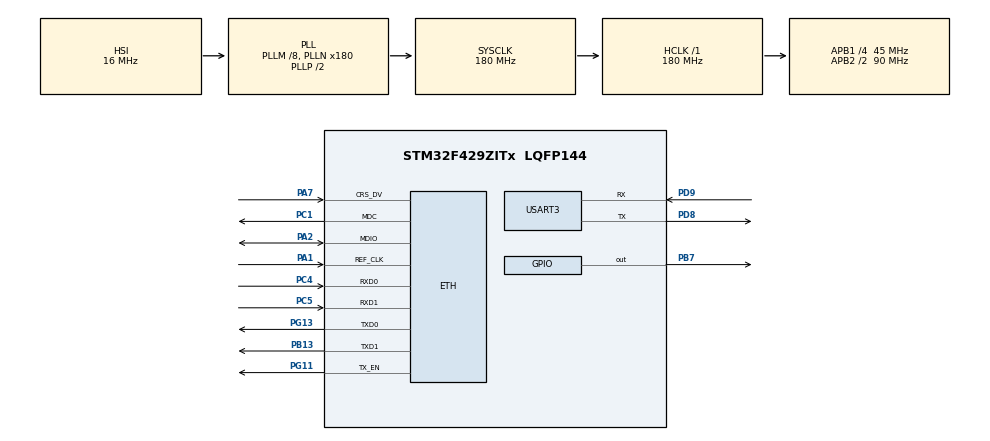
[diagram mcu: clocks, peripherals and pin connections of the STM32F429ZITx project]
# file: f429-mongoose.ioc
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ETH.MediaInterface=HAL_ETH_RMII_MODE
FREERTOS.Tasks01=defaultTask,0,1024,StartDefaultTask,Default,NULL,Dynamic,NULL,NULL
FREERTOS.configTOTAL_HEAP_SIZE=131072
FREERTOS.configUSE_NEWLIB_REENTRANT=1
LWIP.BSP.number=1
LWIP.DHCP_DEBUG=LWIP_DBG_OFF
LWIP.LWIP_HTTPD=0
LWIP.LWIP_HTTPD_SSI_BY_FILE_EXTENSION=0
LWIP.LWIP_NETIF_STATUS_CALLBACK=1
LWIP.MEMP_NUM_PBUF=32
LWIP.MEMP_NUM_RAW_PCB=8
LWIP.MEMP_NUM_TCP_PCB=10
LWIP.MEMP_NUM_TCP_PCB_LISTEN=16
LWIP.MEM_SIZE=8192
LWIP.PBUF_POOL_SIZE=32
LWIP.Version=v2.1.2_Cube
LWIP0.BSP.STBoard=false
LWIP0.BSP.api=BSP_COMPONENT_DRIVER
LWIP0.BSP.component=LAN8742
LWIP0.BSP.instance=LAN8742
LWIP0.BSP.name=Driver_PHY
LWIP0.BSP.semaphore=S_LAN8742
LWIP0.BSP.solution=LAN8742
Mcu.Family=STM32F4
Mcu.Name=STM32F429ZITx
Mcu.Package=LQFP144
NVIC.ETH_IRQn=true\:5\:0\:false\:false\:true\:true\:true\:true\:true
NVIC.PriorityGroup=NVIC_PRIORITYGROUP_4
PA1.Mode=RMII
PA1.Signal=ETH_REF_CLK
PA2.Mode=RMII
PA2.Signal=ETH_MDIO
PA7.Mode=RMII
PA7.Signal=ETH_CRS_DV
PB13.Mode=RMII
PB13.Signal=ETH_TXD1
PB7.Signal=GPIO_Output
PC1.Mode=RMII
PC1.Signal=ETH_MDC
PC4.Mode=RMII
PC4.Signal=ETH_RXD0
PC5.Mode=RMII
PC5.Signal=ETH_RXD1
PD8.Mode=Asynchronous
PD8.Signal=USART3_TX
PD9.Mode=Asynchronous
PD9.Signal=USART3_RX
PG11.Mode=RMII
PG11.Signal=ETH_TX_EN
PG13.Mode=RMII
PG13.Signal=ETH_TXD0
ProjectManager.HeapSize=0x200
ProjectManager.StackSize=0x400
ProjectManager.TargetToolchain=STM32CubeIDE
RCC.48MHZClocksFreq_Value=90000000
RCC.AHBFreq_Value=180000000
RCC.APB1CLKDivider=RCC_HCLK_DIV4
RCC.APB1Freq_Value=45000000
RCC.APB1TimFreq_Value=90000000
RCC.APB2CLKDivider=RCC_HCLK_DIV2
RCC.APB2Freq_Value=90000000
RCC.APB2TimFreq_Value=180000000
RCC.CortexFreq_Value=180000000
RCC.HCLKFreq_Value=180000000
RCC.HSE_VALUE=25000000
RCC.HSI_VALUE=16000000
RCC.LSE_VALUE=32768
RCC.PLLM=8
RCC.PLLN=180
RCC.SYSCLKFreq_VALUE=180000000
RCC.SYSCLKSource=RCC_SYSCLKSOURCE_PLLCLK
RCC.VCOOutputFreq_Value=360000000
USART3.VirtualMode=VM_ASYNC
VP_FREERTOS_VS_CMSIS_V1.Mode=CMSIS_V1
VP_LWIP_VS_Enabled.Mode=Enabled
board=custom

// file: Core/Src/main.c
/* USER CODE BEGIN Header */
/**
 ******************************************************************************
 * @file           : main.c
 * @brief          : Main program body
 ******************************************************************************
 * @attention
 *
 * Copyright (c) 2022 STMicroelectronics.
 * All rights reserved.
 *
 * This software is licensed under terms that can be found in the LICENSE file
 * in the root directory of this software component.
 * If no LICENSE file comes with this software, it is provided AS-IS.
 *
 ******************************************************************************
 */
/* USER CODE END Header */
#include "main.h"
#include "cmsis_os.h"
#include "lwip.h"

/* USER CODE BEGIN Includes */
#include "mongoose.h"

/* USER CODE END Includes */

UART_HandleTypeDef huart3;

osThreadId defaultTaskHandle;

void SystemClock_Config(void);
static void MX_GPIO_Init(void);
static void MX_USART3_UART_Init(void);
void StartDefaultTask(void const * argument);

int main(void)
{

  /* MCU Configuration--------------------------------------------------------*/

  /* Reset of all peripherals, Initializes the Flash interface and the Systick. */
  HAL_Init();

  /* Configure the system clock */
  SystemClock_Config();

  /* Initialize all configured peripherals */
  MX_GPIO_Init();
  MX_USART3_UART_Init();
  /* USER CODE BEGIN 2 */
  //  for(;;) { HAL_Delay(250); HAL_GPIO_TogglePin(GPIOB, GPIO_PIN_7); }
  /* USER CODE END 2 */

  /* Create the thread(s) */
  /* definition and creation of defaultTask */
  osThreadDef(defaultTask, StartDefaultTask, osPriorityNormal, 0, 1024);
  defaultTaskHandle = osThreadCreate(osThread(defaultTask), NULL);

  /* Start scheduler */
  osKernelStart();

  /* We should never get here as control is now taken by the scheduler */
  /* Infinite loop */
  while (1) {

  }
}

void SystemClock_Config(void)
{
  RCC_OscInitTypeDef RCC_OscInitStruct = {0};
  RCC_ClkInitTypeDef RCC_ClkInitStruct = {0};

  /** Configure the main internal regulator output voltage
  */
  __HAL_RCC_PWR_CLK_ENABLE();
  __HAL_PWR_VOLTAGESCALING_CONFIG(PWR_REGULATOR_VOLTAGE_SCALE1);

  /** Initializes the RCC Oscillators according to the specified parameters
  * in the RCC_OscInitTypeDef structure.
  */
  RCC_OscInitStruct.OscillatorType = RCC_OSCILLATORTYPE_HSI;
  RCC_OscInitStruct.HSIState = RCC_HSI_ON;
  RCC_OscInitStruct.HSICalibrationValue = RCC_HSICALIBRATION_DEFAULT;
  RCC_OscInitStruct.PLL.PLLState = RCC_PLL_ON;
  RCC_OscInitStruct.PLL.PLLSource = RCC_PLLSOURCE_HSI;
  RCC_OscInitStruct.PLL.PLLM = 8;
  RCC_OscInitStruct.PLL.PLLN = 180;
  RCC_OscInitStruct.PLL.PLLP = RCC_PLLP_DIV2;
  RCC_OscInitStruct.PLL.PLLQ = 4;
  if (HAL_RCC_OscConfig(&RCC_OscInitStruct) != HAL_OK)
  {
    Error_Handler();
  }

  /** Activate the Over-Drive mode
  */
  if (HAL_PWREx_EnableOverDrive() != HAL_OK)
  {
    Error_Handler();
  }

  /** Initializes the CPU, AHB and APB buses clocks
  */
  RCC_ClkInitStruct.ClockType = RCC_CLOCKTYPE_HCLK|RCC_CLOCKTYPE_SYSCLK
                              |RCC_CLOCKTYPE_PCLK1|RCC_CLOCKTYPE_PCLK2;
  RCC_ClkInitStruct.SYSCLKSource = RCC_SYSCLKSOURCE_PLLCLK;
  RCC_ClkInitStruct.AHBCLKDivider = RCC_SYSCLK_DIV1;
  RCC_ClkInitStruct.APB1CLKDivider = RCC_HCLK_DIV4;
  RCC_ClkInitStruct.APB2CLKDivider = RCC_HCLK_DIV2;

  if (HAL_RCC_ClockConfig(&RCC_ClkInitStruct, FLASH_LATENCY_5) != HAL_OK)
  {
    Error_Handler();
  }
}

static void MX_USART3_UART_Init(void)
{

  huart3.Instance = USART3;
  huart3.Init.BaudRate = 115200;
  huart3.Init.WordLength = UART_WORDLENGTH_8B;
  huart3.Init.StopBits = UART_STOPBITS_1;
  huart3.Init.Parity = UART_PARITY_NONE;
  huart3.Init.Mode = UART_MODE_TX_RX;
  huart3.Init.HwFlowCtl = UART_HWCONTROL_NONE;
  huart3.Init.OverSampling = UART_OVERSAMPLING_16;
  if (HAL_UART_Init(&huart3) != HAL_OK)
  {
    Error_Handler();
  }

}

static void MX_GPIO_Init(void)
{
  GPIO_InitTypeDef GPIO_InitStruct = {0};

  /* GPIO Ports Clock Enable */
  __HAL_RCC_GPIOC_CLK_ENABLE();
  __HAL_RCC_GPIOA_CLK_ENABLE();
  __HAL_RCC_GPIOB_CLK_ENABLE();
  __HAL_RCC_GPIOD_CLK_ENABLE();
  __HAL_RCC_GPIOG_CLK_ENABLE();

  /*Configure GPIO pin Output Level */
  HAL_GPIO_WritePin(GPIOB, GPIO_PIN_7, GPIO_PIN_RESET);

  /*Configure GPIO pin : PB7 */
  GPIO_InitStruct.Pin = GPIO_PIN_7;
  GPIO_InitStruct.Mode = GPIO_MODE_OUTPUT_PP;
  GPIO_InitStruct.Pull = GPIO_NOPULL;
  GPIO_InitStruct.Speed = GPIO_SPEED_FREQ_LOW;
  HAL_GPIO_Init(GPIOB, &GPIO_InitStruct);

}

/* USER CODE BEGIN 4 */
static void fn(struct mg_connection *c, int ev, void *ev_data, void *fn_data) {
  if (ev == MG_EV_HTTP_MSG) mg_http_reply(c, 200, "", "hi\n");
}

static void timer_fn(void *param) {
  printf("cube/sock hi, time %lu, ram: %lu, lwm: %lu\r\n", HAL_GetTick(),
         xPortGetFreeHeapSize(), xPortGetMinimumEverFreeHeapSize());
}
/* USER CODE END 4 */

void StartDefaultTask(void const * argument)
{
  /* init code for LWIP */
  MX_LWIP_Init();
  /* USER CODE BEGIN 5 */
  /* Infinite loop */
  extern struct netif gnetif;
  extern void httpd_init(void);
  while (gnetif.ip_addr.addr == 0) HAL_Delay(100);

  struct mg_mgr mgr;
  mg_mgr_init(&mgr);
  mg_http_listen(&mgr, "http://0.0.0.0", fn, NULL);
  mg_timer_add(&mgr, 1000, MG_TIMER_REPEAT, timer_fn, NULL);

  for (;;) {
    // HAL_Delay(1250);
    mg_mgr_poll(&mgr, 1000);
    HAL_GPIO_TogglePin(GPIOB, GPIO_PIN_7);
  }
  /* USER CODE END 5 */
}

void Error_Handler(void)
{
  __disable_irq();
  while (1) {
  }
}

#ifdef  USE_FULL_ASSERT
/**
  * @brief  Reports the name of the source file and the source line number
  *         where the assert_param error has occurred.
  * @param  file: pointer to the source file name
  * @param  line: assert_param error line source number
  * @retval None
  */
void assert_failed(uint8_t *file, uint32_t line)
{
  /* USER CODE BEGIN 6 */
  /* User can add his own implementation to report the file name and line
     number, ex: printf("Wrong parameters value: file %s on line %d\r\n", file,
     line) */
  /* USER CODE END 6 */
}
#endif /* USE_FULL_ASSERT */
